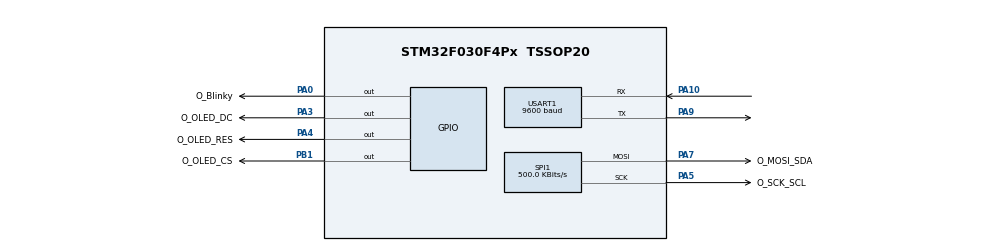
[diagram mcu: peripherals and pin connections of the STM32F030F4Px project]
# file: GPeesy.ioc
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Mcu.Family=STM32F0
Mcu.Name=STM32F030F4Px
Mcu.Package=TSSOP20
PA0.GPIO_Label=O_Blinky
PA0.Signal=GPIO_Output
PA10.Mode=Asynchronous
PA10.Signal=USART1_RX
PA13.Mode=Serial_Wire
PA13.Signal=SYS_SWDIO
PA14.Mode=Serial_Wire
PA14.Signal=SYS_SWCLK
PA3.GPIO_Label=O_OLED_DC
PA3.Signal=GPIO_Output
PA4.GPIO_Label=O_OLED_RES
PA4.Signal=GPIO_Output
PA5.GPIO_Label=O_SCK_SCL
PA5.Mode=TX_Only_Simplex_Unidirect_Master
PA5.Signal=SPI1_SCK
PA7.GPIO_Label=O_MOSI_SDA
PA7.Mode=TX_Only_Simplex_Unidirect_Master
PA7.Signal=SPI1_MOSI
PA9.Mode=Asynchronous
PA9.Signal=USART1_TX
PB1.GPIO_Label=O_OLED_CS
PB1.Signal=GPIO_Output
ProjectManager.HeapSize=0x200
ProjectManager.StackSize=0x400
ProjectManager.TargetToolchain=STM32CubeIDE
RCC.AHBFreq_Value=8000000
RCC.APB1Freq_Value=8000000
RCC.APB1TimFreq_Value=8000000
RCC.HCLKFreq_Value=8000000
SPI1.BaudRatePrescaler=SPI_BAUDRATEPRESCALER_16
SPI1.CalculateBaudRate=500.0 KBits/s
SPI1.DataSize=SPI_DATASIZE_8BIT
SPI1.Direction=SPI_DIRECTION_2LINES
SPI1.Mode=SPI_MODE_MASTER
SPI1.VirtualType=VM_MASTER
USART1.BaudRate=9600
USART1.Mode=MODE_RX
USART1.OneBitSampling=UART_ONE_BIT_SAMPLE_ENABLE
USART1.VirtualMode-Asynchronous=VM_ASYNC
board=custom

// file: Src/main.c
/* USER CODE BEGIN Header */
/**
 ******************************************************************************
 * @file           : main.c
 * @brief          : Main program body
 ******************************************************************************
 * @attention
 *
 * <h2><center>&copy; Copyright (c) 2019 STMicroelectronics.
 * All rights reserved.</center></h2>
 *
 * This software component is licensed by ST under BSD 3-Clause license,
 * the "License"; You may not use this file except in compliance with the
 * License. You may obtain a copy of the License at:
 *                        opensource.org/licenses/BSD-3-Clause
 *
 ******************************************************************************
 */
/* USER CODE END Header */

#include "main.h"

/* USER CODE BEGIN Includes */
#include <stdlib.h>
/* USER CODE END Includes */

SPI_HandleTypeDef hspi1;

UART_HandleTypeDef huart1;

void SystemClock_Config(void);
static void MX_GPIO_Init(void);
static void MX_SPI1_Init(void);
static void MX_USART1_UART_Init(void);

int main(void)
{
  /* USER CODE BEGIN 1 */
	char dato=0;
	char buffer[82];
//	char str[15];
	uint32_t i = 0;
  /* USER CODE END 1 */

  /* MCU Configuration--------------------------------------------------------*/

  /* Reset of all peripherals, Initializes the Flash interface and the Systick. */
  HAL_Init();

  /* Configure the system clock */
  SystemClock_Config();

  /* Initialize all configured peripherals */
  MX_GPIO_Init();
  MX_SPI1_Init();
  MX_USART1_UART_Init();
  /* USER CODE BEGIN 2 */
	ssd1306_Init();
	ssd1306_Fill(Black);
	ssd1306_SetCursor(0, 0);
	ssd1306_WriteString("Hola Lulu", Font_11x18, White);
	ssd1306_SetCursor(0, 20);
	ssd1306_WriteString("Hola Pepe", Font_11x18, White);
	ssd1306_SetCursor(0, 40);
	ssd1306_WriteString("OLED -2/10", Font_11x18, White);
	ssd1306_UpdateScreen();
  /* USER CODE END 2 */

  /* Infinite loop */
	while (1)
	{

    /* USER CODE BEGIN 3 */
		HAL_GPIO_TogglePin(GPIOA, O_Blinky_Pin);
		//		HAL_Delay(1000);

		//		HAL_UART_Receive(&huart1, ((uint8_t*)buffer),82, 20);

		//		if(dato=='$')
		//		{
		//			i = 0;
		//			while(dato!='*')
		//			{
		//				if(i==82)
		//					break;	//Avisar
		//				HAL_UART_Receive(&huart1, ((uint8_t*)&dato),1, 20);
		//				buffer[i] = dato;
		//				i++;
		//			}
		//		}
		for(i=0 ; i<33 ; i++)
			buffer[i] = 'x';

		__HAL_UART_CLEAR_IT(&huart1, UART_CLEAR_NEF|UART_CLEAR_OREF);
		if( HAL_UART_Receive(&huart1, ((uint8_t*)&dato),1, 10) == HAL_TIMEOUT)
		{
//			ssd1306_Fill(Black);
//			ssd1306_SetCursor(0, 0);
//			ssd1306_WriteString("GPS: TimeO", Font_11x18, White);
//			ssd1306_SetCursor(0, 20);
//			ssd1306_WriteString("TimeO_FLAGS", Font_11x18, White);
//			ssd1306_WriteString(str, Font_11x18, White);
//			ssd1306_UpdateScreen();
		}
		else
		{

			if( dato == '$')
			{
				HAL_UART_Receive(&huart1, ((uint8_t*)buffer),33, 100);
				ssd1306_Fill(Black);
				ssd1306_SetCursor(0, 0);
				for(i=0 ; i<11 ; i++)
					ssd1306_WriteChar(buffer[i], Font_11x18, White);
				ssd1306_SetCursor(0, 20);
				for(i=11 ; i<22 ; i++)
					ssd1306_WriteChar(buffer[i], Font_11x18, White);
				ssd1306_SetCursor(0, 40);
				for(i=22 ; i<33 ; i++)
					ssd1306_WriteChar(buffer[i], Font_11x18, White);
				ssd1306_UpdateScreen();
				HAL_Delay(1000);

			}
			else
			{
//				ssd1306_Fill(Black);
//				ssd1306_SetCursor(0, 0);
//				ssd1306_WriteString("GPS: Bad", Font_11x18, White);
//				ssd1306_UpdateScreen();
			}
		}
	}
  /* USER CODE END 3 */
}

void SystemClock_Config(void)
{
  RCC_OscInitTypeDef RCC_OscInitStruct = {0};
  RCC_ClkInitTypeDef RCC_ClkInitStruct = {0};
  RCC_PeriphCLKInitTypeDef PeriphClkInit = {0};

  /** Initializes the CPU, AHB and APB busses clocks
  */
  RCC_OscInitStruct.OscillatorType = RCC_OSCILLATORTYPE_HSI;
  RCC_OscInitStruct.HSIState = RCC_HSI_ON;
  RCC_OscInitStruct.HSICalibrationValue = RCC_HSICALIBRATION_DEFAULT;
  RCC_OscInitStruct.PLL.PLLState = RCC_PLL_NONE;
  if (HAL_RCC_OscConfig(&RCC_OscInitStruct) != HAL_OK)
  {
    Error_Handler();
  }
  /** Initializes the CPU, AHB and APB busses clocks
  */
  RCC_ClkInitStruct.ClockType = RCC_CLOCKTYPE_HCLK|RCC_CLOCKTYPE_SYSCLK
                              |RCC_CLOCKTYPE_PCLK1;
  RCC_ClkInitStruct.SYSCLKSource = RCC_SYSCLKSOURCE_HSI;
  RCC_ClkInitStruct.AHBCLKDivider = RCC_SYSCLK_DIV1;
  RCC_ClkInitStruct.APB1CLKDivider = RCC_HCLK_DIV1;

  if (HAL_RCC_ClockConfig(&RCC_ClkInitStruct, FLASH_LATENCY_0) != HAL_OK)
  {
    Error_Handler();
  }
  PeriphClkInit.PeriphClockSelection = RCC_PERIPHCLK_USART1;
  PeriphClkInit.Usart1ClockSelection = RCC_USART1CLKSOURCE_PCLK1;
  if (HAL_RCCEx_PeriphCLKConfig(&PeriphClkInit) != HAL_OK)
  {
    Error_Handler();
  }
}

static void MX_SPI1_Init(void)
{

  /* SPI1 parameter configuration*/
  hspi1.Instance = SPI1;
  hspi1.Init.Mode = SPI_MODE_MASTER;
  hspi1.Init.Direction = SPI_DIRECTION_2LINES;
  hspi1.Init.DataSize = SPI_DATASIZE_8BIT;
  hspi1.Init.CLKPolarity = SPI_POLARITY_LOW;
  hspi1.Init.CLKPhase = SPI_PHASE_1EDGE;
  hspi1.Init.NSS = SPI_NSS_SOFT;
  hspi1.Init.BaudRatePrescaler = SPI_BAUDRATEPRESCALER_16;
  hspi1.Init.FirstBit = SPI_FIRSTBIT_MSB;
  hspi1.Init.TIMode = SPI_TIMODE_DISABLE;
  hspi1.Init.CRCCalculation = SPI_CRCCALCULATION_DISABLE;
  hspi1.Init.CRCPolynomial = 7;
  hspi1.Init.CRCLength = SPI_CRC_LENGTH_DATASIZE;
  hspi1.Init.NSSPMode = SPI_NSS_PULSE_ENABLE;
  if (HAL_SPI_Init(&hspi1) != HAL_OK)
  {
    Error_Handler();
  }

}

static void MX_USART1_UART_Init(void)
{

  huart1.Instance = USART1;
  huart1.Init.BaudRate = 9600;
  huart1.Init.WordLength = UART_WORDLENGTH_8B;
  huart1.Init.StopBits = UART_STOPBITS_1;
  huart1.Init.Parity = UART_PARITY_NONE;
  huart1.Init.Mode = UART_MODE_RX;
  huart1.Init.HwFlowCtl = UART_HWCONTROL_NONE;
  huart1.Init.OverSampling = UART_OVERSAMPLING_16;
  huart1.Init.OneBitSampling = UART_ONE_BIT_SAMPLE_ENABLE;
  huart1.AdvancedInit.AdvFeatureInit = UART_ADVFEATURE_NO_INIT;
  if (HAL_UART_Init(&huart1) != HAL_OK)
  {
    Error_Handler();
  }

}

static void MX_GPIO_Init(void)
{
  GPIO_InitTypeDef GPIO_InitStruct = {0};

  /* GPIO Ports Clock Enable */
  __HAL_RCC_GPIOA_CLK_ENABLE();
  __HAL_RCC_GPIOB_CLK_ENABLE();

  /*Configure GPIO pin Output Level */
  HAL_GPIO_WritePin(GPIOA, O_Blinky_Pin|O_OLED_DC_Pin|O_OLED_RES_Pin, GPIO_PIN_RESET);

  /*Configure GPIO pin Output Level */
  HAL_GPIO_WritePin(O_OLED_CS_GPIO_Port, O_OLED_CS_Pin, GPIO_PIN_RESET);

  /*Configure GPIO pins : O_Blinky_Pin O_OLED_DC_Pin O_OLED_RES_Pin */
  GPIO_InitStruct.Pin = O_Blinky_Pin|O_OLED_DC_Pin|O_OLED_RES_Pin;
  GPIO_InitStruct.Mode = GPIO_MODE_OUTPUT_PP;
  GPIO_InitStruct.Pull = GPIO_NOPULL;
  GPIO_InitStruct.Speed = GPIO_SPEED_FREQ_LOW;
  HAL_GPIO_Init(GPIOA, &GPIO_InitStruct);

  /*Configure GPIO pin : O_OLED_CS_Pin */
  GPIO_InitStruct.Pin = O_OLED_CS_Pin;
  GPIO_InitStruct.Mode = GPIO_MODE_OUTPUT_PP;
  GPIO_InitStruct.Pull = GPIO_NOPULL;
  GPIO_InitStruct.Speed = GPIO_SPEED_FREQ_LOW;
  HAL_GPIO_Init(O_OLED_CS_GPIO_Port, &GPIO_InitStruct);

}

void Error_Handler(void)
{
  /* USER CODE BEGIN Error_Handler_Debug */
	/* User can add his own implementation to report the HAL error return state */
	while(1);
  /* USER CODE END Error_Handler_Debug */
}

/************************ (C) COPYRIGHT STMicroelectronics *****END OF FILE****/
